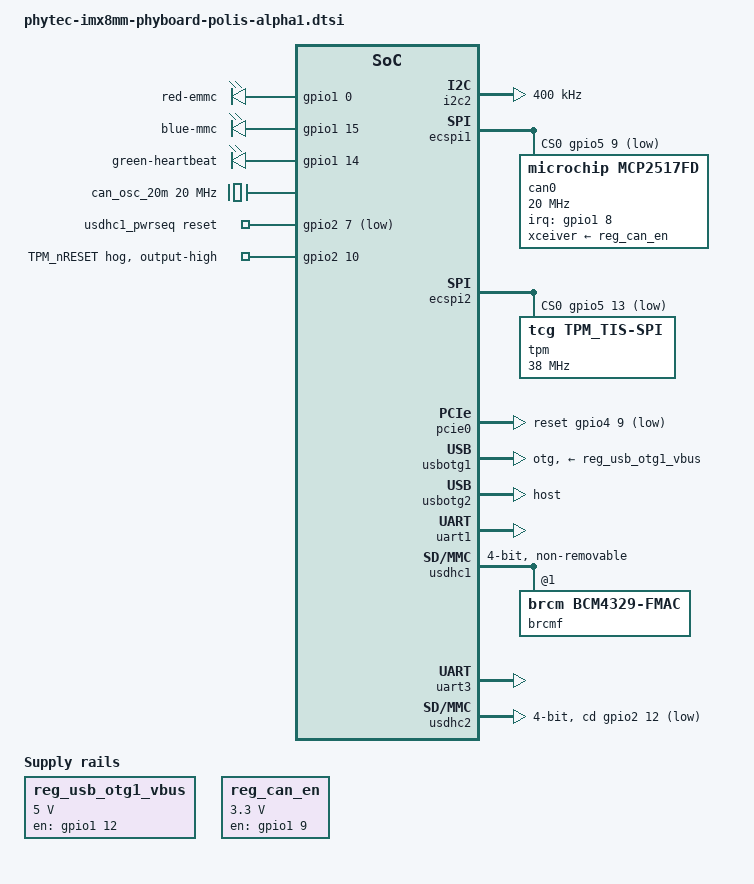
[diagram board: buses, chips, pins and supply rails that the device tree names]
// SPDX-License-Identifier: GPL-2.0
/*
 * Copyright (C) 2019 Daniel Glöckner <dg@emlix.com>
 *
 * DEPRECATED: THIS DTS SUPPORTS THE FIRST HW REVISION (1518.0) OF THE
 * phyCORE-i.MX8MM AND FIRST HW REVISION OF (1532.0) THE phyBOARD-Polis BASE BOARD.
 * THIS SUPPORT WILL BE REMOVED IN THE NEXT SOFTWARE RELEASE.
 */

/ {
	leds {
		compatible = "gpio-leds";
		pinctrl-names = "default";
		pinctrl-0 = <&pinctrl_leds>;

		led-red {
			label = "red-emmc";
			gpios = <&gpio1 0 GPIO_ACTIVE_HIGH>;
			linux,default-trigger = "mmc0";
		};

		led-blue {
			label = "blue-mmc";
			gpios = <&gpio1 15 GPIO_ACTIVE_HIGH>;
			linux,default-trigger = "mmc1";
		};

		led-green {
			label = "green-heartbeat";
			gpios = <&gpio1 14 GPIO_ACTIVE_HIGH>;
			linux,default-trigger = "heartbeat";
		};
	};

	reg_usb_otg1_vbus: regulator-usb-otg1-vbus {
		pinctrl-names = "default";
		pinctrl-0 = <&pinctrl_usbotg1pwrgrp>;
		compatible = "regulator-fixed";
		regulator-name = "usb_otg1_vbus";
		regulator-min-microvolt = <5000000>;
		regulator-max-microvolt = <5000000>;
		gpio = <&gpio1 12 GPIO_ACTIVE_HIGH>;
		enable-active-high;
	};

	reg_can_en: regulator-can-en {
		compatible = "regulator-fixed";
		pinctrl-names = "default";
		pinctrl-0 = <&pinctrl_can_en>;
		regulator-name = "reg_can_en";
		regulator-min-microvolt = <3300000>;
		regulator-max-microvolt = <3300000>;
		gpio = <&gpio1 9 GPIO_ACTIVE_HIGH>;
		startup-delay-us = <20>;
		enable-active-high;
	};

	clocks {
		#address-cells = <1>;
		#size-cells = <0>;

		can_osc_20m: can-clock@0 {
			compatible = "fixed-clock";
			reg = <0>;
			#clock-cells = <0>;
			clock-frequency = <20000000>;
			clock-output-names = "can_osc_20m";
		};
	};

	usdhc1_pwrseq: pwr_seq {
                compatible = "mmc-pwrseq-simple";
                reset-gpios = <&gpio2 7 GPIO_ACTIVE_LOW>;
                post-power-on-delay-ms = <100>;
                power-off-delay-us = <60>;
	};
};

&i2c2 {
	clock-frequency = <400000>;
	pinctrl-names = "default";
	pinctrl-0 = <&pinctrl_i2c2>;
	status = "okay";
};

/* CAN mcp2517fd */
&ecspi1 {
	#address-cells = <1>;
	#size-cells = <0>;
	pinctrl-names = "default";
	pinctrl-0 = <&pinctrl_ecspi1 &pinctrl_ecspi1_cs>;
	cs-gpios = <&gpio5 9 GPIO_ACTIVE_LOW>;
	status = "okay";

	can0: can@0 {
		compatible = "microchip,mcp2517fd";
		reg = <0>;
		spi-max-frequency = <20000000>;
		interrupt-parent = <&gpio1>;
		interrupts = <8 IRQ_TYPE_EDGE_FALLING>;
		clocks = <&can_osc_20m>;
		xceiver-supply = <&reg_can_en>;
	};
};

/* TPM */
&ecspi2 {
	#address-cells = <1>;
	#size-cells = <0>;
	fsl,spi-num-chipselects = <1>;
	pinctrl-names = "default";
	pinctrl-0 = <&pinctrl_ecspi2 &pinctrl_ecspi2_cs>;
	cs-gpios = <&gpio5 13 GPIO_ACTIVE_LOW>;
	status = "okay";

	tpm: tpm_tis@0 {
		pinctrl-names = "default";
		pinctrl-0 = <&pinctrl_tpm>;
		compatible = "tcg,tpm_tis-spi";
		reg = <0>;
		spi-max-frequency = <38000000>;
#if 0 /* IRQ support is not properly implemented in the driver */
		interrupt-parent = <&gpio2>;
		interrupts = <11 IRQ_TYPE_LEVEL_LOW>;
#endif
	};
};

&gpio2 {
	tpm_nreset {
		gpio-hog;
		gpios = <10 GPIO_ACTIVE_HIGH>;
		output-high;
		line-name = "TPM_nRESET";
	};
};

/* PCIe */
&pcie0 {
	pinctrl-names = "default";
	pinctrl-0 = <&pinctrl_pcie>;
	reset-gpio = <&gpio4 9 GPIO_ACTIVE_LOW>;
	status = "okay";
};

/* USB */
&usbotg1 {
	pinctrl-names = "default";
	pinctrl-0 = <&pinctrl_usbotg1grp>;
	vbus-supply = <&reg_usb_otg1_vbus>;
	dr_mode = "otg";
	picophy,pre-emp-curr-control = <3>;
	picophy,dc-vol-level-adjust = <7>;
	status = "okay";
};

&usbotg2 {
	dr_mode = "host";
	picophy,pre-emp-curr-control = <3>;
	picophy,dc-vol-level-adjust = <7>;
	status = "okay";
};

/* UART - RS485 */
&uart1 {
	pinctrl-names = "default";
	pinctrl-0 = <&pinctrl_uart1>;
	assigned-clocks = <&clk IMX8MM_CLK_UART1>;
	assigned-clock-parents = <&clk IMX8MM_SYS_PLL1_80M>;
	status = "okay";
	uart-has-rtscts;
};

#if 0
/* Sterling-LWB Bluetooth & WLAN */
&uart2 {
	pinctrl-names = "default";
	pinctrl-0 = <&pinctrl_uart2_bt>;
	assigned-clocks = <&clk IMX8MM_CLK_UART2>;
	assigned-clock-parents = <&clk IMX8MM_SYS_PLL1_80M>;
	uart-has-rtscts;
	fsl,dte-mode;
	status = "okay";

	bluetooth {
		pinctrl-names = "default";
		pinctrl-0 = <&pinctrl_bt>;
		compatible = "brcm,bcm43438-bt";
		max-speed = <2000000>;
		shutdown-gpios = <&gpio2 6 GPIO_ACTIVE_HIGH>;
		device-wakeup-gpios = <&gpio2 8 GPIO_ACTIVE_HIGH>;
		host-wakeup-gpios = <&gpio2 9 GPIO_ACTIVE_HIGH>;
	};
};
#endif

&usdhc1 {
	#address-cells = <1>;
	#size-cells = <0>;
	pinctrl-names = "default", "state_100mhz", "state_200mhz";
	pinctrl-0 = <&pinctrl_usdhc1>, <&pinctrl_wlan>;
	pinctrl-1 = <&pinctrl_usdhc1_100mhz>, <&pinctrl_wlan>;
	pinctrl-2 = <&pinctrl_usdhc1_200mhz>, <&pinctrl_wlan>;
	bus-width = <4>;
	non-removable;
	no-1-8-v;
	mmc-pwrseq = <&usdhc1_pwrseq>;
	wifi-host;
	status = "okay";

	brcmf: wifi@1 {
		reg = <1>;
		compatible = "brcm,bcm4329-fmac";
	};
};

/* UART console */
&uart3 {
	pinctrl-names = "default";
	pinctrl-0 = <&pinctrl_uart3>;
	assigned-clocks = <&clk IMX8MM_CLK_UART3>;
	assigned-clock-parents = <&clk IMX8MM_SYS_PLL1_80M>;
	status = "okay";
};

/* SD-Card */
&usdhc2 {
	vqmmc-supply = <&reg_ldo2>;
	pinctrl-names = "default", "state_100mhz", "state_200mhz";
	pinctrl-0 = <&pinctrl_usdhc2>, <&pinctrl_usdhc2_gpio>;
	pinctrl-1 = <&pinctrl_usdhc2_100mhz>, <&pinctrl_usdhc2_gpio>;
	pinctrl-2 = <&pinctrl_usdhc2_200mhz>, <&pinctrl_usdhc2_gpio>;
	cd-gpios = <&gpio2 12 GPIO_ACTIVE_LOW>;
	bus-width = <4>;
	status = "okay";
	no-1-8-v;
};

&iomuxc {
	imx8mm-phyboard-polis {
		pinctrl_can_en: can-engrp {
			fsl,pins = <
				MX8MM_IOMUXC_GPIO1_IO09_ENET1_1588_EVENT0_OUT	0x00
			>;
		};

		pinctrl_ecspi1: ecspi1grp {
			fsl,pins = <
				MX8MM_IOMUXC_ECSPI1_SCLK_ECSPI1_SCLK	0x82
				MX8MM_IOMUXC_ECSPI1_MOSI_ECSPI1_MOSI	0x82
				MX8MM_IOMUXC_ECSPI1_MISO_ECSPI1_MISO	0x82
			>;
		};

		pinctrl_ecspi1_cs: ecspi1csgrp {
			fsl,pins = <
				MX8MM_IOMUXC_ECSPI1_SS0_GPIO5_IO9	0x00
			>;
		};

		pinctrl_ecspi2: ecspi2grp {
			fsl,pins = <
				MX8MM_IOMUXC_ECSPI2_SCLK_ECSPI2_SCLK	0x82
				MX8MM_IOMUXC_ECSPI2_MOSI_ECSPI2_MOSI	0x82
				MX8MM_IOMUXC_ECSPI2_MISO_ECSPI2_MISO	0x82
			>;
		};

		pinctrl_ecspi2_cs: ecspi2csgrp {
			fsl,pins = <
				MX8MM_IOMUXC_ECSPI2_SS0_GPIO5_IO13	0x00
			>;
		};

		pinctrl_i2c2: i2c2grp {
			fsl,pins = <
				MX8MM_IOMUXC_I2C2_SCL_I2C2_SCL		0x400001c3
				MX8MM_IOMUXC_I2C2_SDA_I2C2_SDA		0x400001c3
			>;
		};

		pinctrl_leds: leds1grp {
			fsl,pins = <
				MX8MM_IOMUXC_GPIO1_IO00_GPIO1_IO0	0x16
				MX8MM_IOMUXC_GPIO1_IO14_GPIO1_IO14	0x16
				MX8MM_IOMUXC_GPIO1_IO15_GPIO1_IO15	0x16
			>;
		};

		pinctrl_pcie: pciegrp {
			fsl,pins = <
				/* /PERST */
				MX8MM_IOMUXC_SAI1_RXD7_GPIO4_IO9	0x00
				/* COEX1 */
				MX8MM_IOMUXC_SAI1_TXD0_GPIO4_IO12	0x12
				/* COEX2 */
				MX8MM_IOMUXC_SAI1_TXD7_GPIO4_IO19	0x12
			>;
		};

		pinctrl_tpm: tpmgrp {
			fsl,pins = <
				MX8MM_IOMUXC_SD1_RESET_B_GPIO2_IO10	0x140
				MX8MM_IOMUXC_SD1_STROBE_GPIO2_IO11	0x140
			>;
		};

		pinctrl_usbotg1pwrgrp: usbotg1pwrgrp {
			fsl,pins = <
				MX8MM_IOMUXC_GPIO1_IO12_GPIO1_IO12	0x00
			>;
		};

		pinctrl_usbotg1grp: usbotg1grp {
			fsl,pins = <
				MX8MM_IOMUXC_GPIO1_IO10_USB1_OTG_ID	0x80
				MX8MM_IOMUXC_GPIO1_IO13_USB1_OTG_OC	0x80
			>;
		};

		pinctrl_uart1: uart1grp {
			fsl,pins = <
				MX8MM_IOMUXC_SAI2_RXFS_UART1_DCE_TX	0x00
				MX8MM_IOMUXC_SAI2_RXC_UART1_DCE_RX	0x00
				MX8MM_IOMUXC_SAI2_RXD0_UART1_DCE_RTS_B	0x00
				MX8MM_IOMUXC_SAI2_TXFS_UART1_DCE_CTS_B	0x00
			>;
		};

		pinctrl_uart2_bt: uart2grp_bt {
			fsl,pins = <
				MX8MM_IOMUXC_SAI3_RXD_UART2_DTE_CTS_B	0x00
				MX8MM_IOMUXC_SAI3_RXC_UART2_DTE_RTS_B	0x00
				MX8MM_IOMUXC_SAI3_TXFS_UART2_DTE_TX	0x00
				MX8MM_IOMUXC_SAI3_TXC_UART2_DTE_RX	0x00
			>;
		};

		pinctrl_uart3: uart3grp {
			fsl,pins = <
				MX8MM_IOMUXC_UART3_RXD_UART3_DCE_RX	0x49
				MX8MM_IOMUXC_UART3_TXD_UART3_DCE_TX	0x49
			>;
		};

		pinctrl_wlan: wlangrp {
			fsl,pins = <
				MX8MM_IOMUXC_SD1_DATA5_GPIO2_IO7	0x00
			>;
		};

		pinctrl_bt: btgrp {
			fsl,pins = <
				MX8MM_IOMUXC_SD1_DATA4_GPIO2_IO6	0x00
				MX8MM_IOMUXC_SD1_DATA6_GPIO2_IO8	0x00
				MX8MM_IOMUXC_SD1_DATA7_GPIO2_IO9	0x00
			>;
		};

		pinctrl_usdhc1: usdhc1grp {
			fsl,pins = <
				MX8MM_IOMUXC_SD1_CLK_USDHC1_CLK		0x190
				MX8MM_IOMUXC_SD1_CMD_USDHC1_CMD		0xd0
				MX8MM_IOMUXC_SD1_DATA0_USDHC1_DATA0	0xd0
				MX8MM_IOMUXC_SD1_DATA1_USDHC1_DATA1	0xd0
				MX8MM_IOMUXC_SD1_DATA2_USDHC1_DATA2	0xd0
				MX8MM_IOMUXC_SD1_DATA3_USDHC1_DATA3	0xd0
			>;
		};

		pinctrl_usdhc1_100mhz: usdhc1grp100mhz {
			fsl,pins = <
				MX8MM_IOMUXC_SD1_CLK_USDHC1_CLK		0x194
				MX8MM_IOMUXC_SD1_CMD_USDHC1_CMD		0xd4
				MX8MM_IOMUXC_SD1_DATA0_USDHC1_DATA0	0xd4
				MX8MM_IOMUXC_SD1_DATA1_USDHC1_DATA1	0xd4
				MX8MM_IOMUXC_SD1_DATA2_USDHC1_DATA2	0xd4
				MX8MM_IOMUXC_SD1_DATA3_USDHC1_DATA3	0xd4
			>;
		};

		pinctrl_usdhc1_200mhz: usdhc1grp200mhz {
			fsl,pins = <
				MX8MM_IOMUXC_SD1_CLK_USDHC1_CLK		0x196
				MX8MM_IOMUXC_SD1_CMD_USDHC1_CMD		0xd6
				MX8MM_IOMUXC_SD1_DATA0_USDHC1_DATA0	0xd6
				MX8MM_IOMUXC_SD1_DATA1_USDHC1_DATA1	0xd6
				MX8MM_IOMUXC_SD1_DATA2_USDHC1_DATA2	0xd6
				MX8MM_IOMUXC_SD1_DATA3_USDHC1_DATA3	0xd6
			>;
		};

		pinctrl_usdhc2_gpio: usdhc2grpgpio {
			fsl,pins = <
				MX8MM_IOMUXC_SD2_CD_B_GPIO2_IO12	0x41
			>;
		};

		pinctrl_usdhc2: usdhc2grp {
			fsl,pins = <
				MX8MM_IOMUXC_SD2_CLK_USDHC2_CLK		0x190
				MX8MM_IOMUXC_SD2_CMD_USDHC2_CMD		0x1d0
				MX8MM_IOMUXC_SD2_DATA0_USDHC2_DATA0	0x1d0
				MX8MM_IOMUXC_SD2_DATA1_USDHC2_DATA1	0x1d0
				MX8MM_IOMUXC_SD2_DATA2_USDHC2_DATA2	0x1d0
				MX8MM_IOMUXC_SD2_DATA3_USDHC2_DATA3	0x1d0
				MX8MM_IOMUXC_GPIO1_IO04_USDHC2_VSELECT	0x1d0
			>;
		};

		pinctrl_usdhc2_100mhz: usdhc2grp100mhz {
			fsl,pins = <
				MX8MM_IOMUXC_SD2_CLK_USDHC2_CLK		0x194
				MX8MM_IOMUXC_SD2_CMD_USDHC2_CMD		0x1d4
				MX8MM_IOMUXC_SD2_DATA0_USDHC2_DATA0	0x1d4
				MX8MM_IOMUXC_SD2_DATA1_USDHC2_DATA1	0x1d4
				MX8MM_IOMUXC_SD2_DATA2_USDHC2_DATA2	0x1d4
				MX8MM_IOMUXC_SD2_DATA3_USDHC2_DATA3	0x1d4
				MX8MM_IOMUXC_GPIO1_IO04_USDHC2_VSELECT	0x1d0
			>;
		};

		pinctrl_usdhc2_200mhz: usdhc2grp200mhz {
			fsl,pins = <
				MX8MM_IOMUXC_SD2_CLK_USDHC2_CLK		0x196
				MX8MM_IOMUXC_SD2_CMD_USDHC2_CMD		0x1d6
				MX8MM_IOMUXC_SD2_DATA0_USDHC2_DATA0	0x1d6
				MX8MM_IOMUXC_SD2_DATA1_USDHC2_DATA1	0x1d6
				MX8MM_IOMUXC_SD2_DATA2_USDHC2_DATA2	0x1d6
				MX8MM_IOMUXC_SD2_DATA3_USDHC2_DATA3	0x1d6
				MX8MM_IOMUXC_GPIO1_IO04_USDHC2_VSELECT	0x1d0
			>;
		};
	};
};
